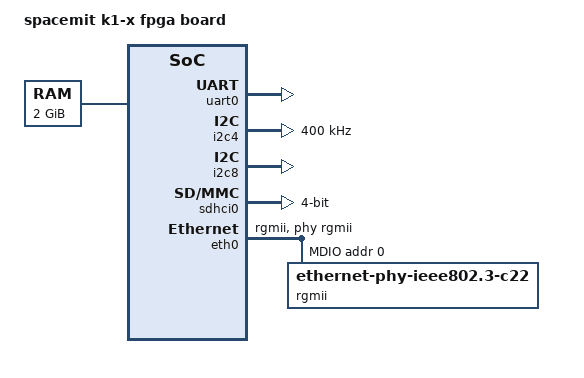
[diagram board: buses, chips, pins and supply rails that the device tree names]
// SPDX-License-Identifier: (GPL-2.0 OR MIT)
/* Copyright (c) 2023 Spacemit, Inc */

/dts-v1/;

#include "k1-x.dtsi"

/ {
	model = "spacemit k1-x fpga board";

	memory@0 {
		device_type = "memory";
		reg = <0x00000000 0x00000000 0x00000000 0x80000000>;
		u-boot,dm-spl;
	};

	chosen {
		bootargs = "earlycon=sbi console=ttyS0,115200 debug loglevel=8,initcall_debug=1 rdinit=/init.tmp";
		stdout-path = "serial0:115200n8";
		u-boot,dm-spl;
	};
};

&uart0 {
	status = "okay";
};

&i2c0 {
	status = "disabled";
};

&i2c1 {
	status = "disabled";
};

&i2c2 {
	status = "disabled";
};

&i2c3 {
	/* SEC_I2C */
	status = "disabled";
};

&i2c4 {
	clock-frequency = <400000>;
	status = "okay";
};

&i2c5 {
	status = "disabled";
};

&i2c6 {
	status = "disabled";
};

&i2c7 {
	status = "disabled";
};

&i2c8 {
	/* PWR_I2C */
	status = "okay";
};

&udc {
	status = "disabled";
};

&usbdrd3 {
	status = "disabled";
	dwc3@c0a00000 {
		maximum-speed = "high-speed";
		dr_mode = "peripheral";
		phy_type = "utmi_wide";
		snps,dis_enblslpm_quirk;
	};
};

&sdhci0 {
	bus-width = <4>;
	broken-cd;
	cap-sd-highspeed;
	sdh-phy-module = <0>;
	status = "okay";
};

/* eMMC */
&sdhci2 {
	bus-width = <8>;
	non-removable;
	cap-mmc-highspeed;
	sdh-phy-module = <1>;
	status = "disabled";
};

&eth0 {
	status = "okay";

	phy-reset-pin = <40>;

	clk_tuning_enable;
	clk-tuning-by-reg;
	tx-phase = <0x1>;
	rx-phase = <0x5>;

	phy-mode = "rgmii";
	phy-addr = <0>;
	phy-handle = <&rgmii>;

	ref-clock-from-phy;

	mdio {
		#address-cells = <0x1>;
		#size-cells = <0x0>;
		rgmii: phy@0 {
			compatible = "ethernet-phy-ieee802.3-c22";
			device_type = "ethernet-phy";
			reg = <0x0>;
		};
	};
};

&pcie0_rc {
	status = "disabled";
};
